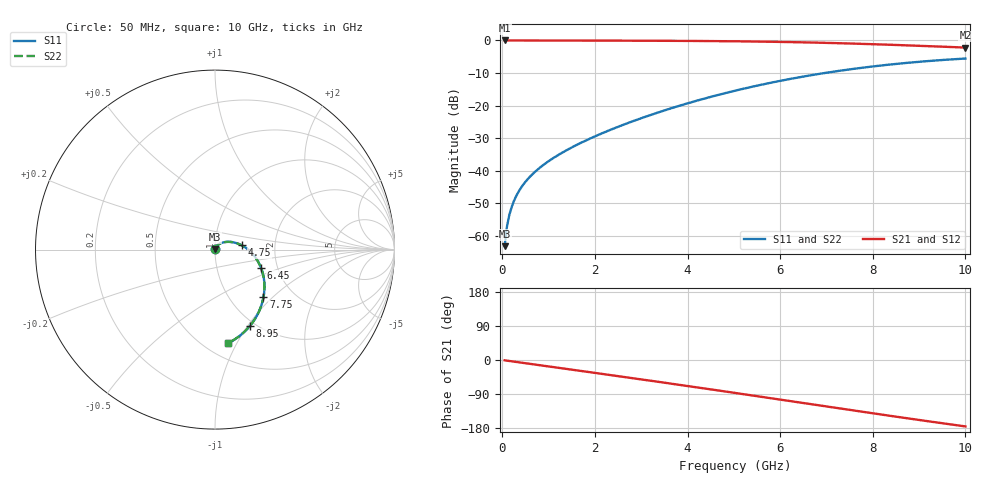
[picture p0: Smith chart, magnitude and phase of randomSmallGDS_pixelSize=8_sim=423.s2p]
! freq	dB(S11)	phase(S11)	dB(S12)	phase(S12)
!  dB(S21)	phase(S21)	dB(S22)	phase(S22)
!S-par simulation data
#  GHz  S  DB  R 50
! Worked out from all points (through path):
!   200 points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, 50 MHz to 10 GHz, reference 50 ohm
!   highest |S21| = 0.00 dB at 50 MHz (marker M1); lowest = -2.2 dB at 10 GHz (marker M2)
!   group delay of S21, straight-line fit = 49.1 ps
!   lowest |S11| = -63.2 dB at 50 MHz (marker M3), VSWR 1.00, Z = 50 + j0.0686 ohm
!   |S11| at or under -10 dB: start of sweep to 6.966 GHz
!   |S22| runs from -63.2 to -5.6 dB; largest |S21 - S12| = 0
!   S11 on the Smith chart (normalised r, x): 50 MHz: 1.00, +0.00; 4.75 GHz: 1.35, +0.07; 6.45 GHz: 1.64, -0.36; 7.75 GHz: 1.42, -0.88; 8.95 GHz: 0.95, -1.03; 10 GHz: 0.63, -0.92
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0.05  -63.24 85.6  -0.00 -0.9  -0.00 -0.9  -63.24 85.6
0.1  -57.25 85.9  -0.00 -1.7  -0.00 -1.7  -57.25 85.9
0.15  -53.76 85.2  -0.00 -2.6  -0.00 -2.6  -53.76 85.2
0.2  -51.30 84.4  -0.00 -3.4  -0.00 -3.4  -51.30 84.4
0.3  -47.84 82.8  -0.01 -5.1  -0.01 -5.1  -47.84 82.8
0.45  -44.37 80.5  -0.01 -7.7  -0.01 -7.7  -44.37 80.5
0.65  -41.14 77.6  -0.01 -11.1  -0.01 -11.1  -41.14 77.6
0.95  -37.61 73.3  -0.02 -16.2  -0.02 -16.2  -37.61 73.3
1.3  -34.45 68.0  -0.03 -22.1  -0.03 -22.1  -34.45 67.9
1.75  -31.12 60.8  -0.04 -29.7  -0.04 -29.7  -31.12 60.8
2.55  -26.27 47.4  -0.06 -43.4  -0.06 -43.4  -26.27 47.4
3.4  -21.97 32.8  -0.10 -58.1  -0.10 -58.1  -21.97 32.8
4.1  -18.92 20.6  -0.15 -70.4  -0.15 -70.4  -18.92 20.5
4.75  -16.42 9.1  -0.22 -81.9  -0.22 -81.9  -16.42 9.0
5.05  -15.37 3.7  -0.26 -87.3  -0.26 -87.3  -15.37 3.7
5.75  -13.14 -8.8  -0.39 -99.9  -0.39 -99.9  -13.14 -8.8
6.45  -11.22 -21.4  -0.56 -112.6  -0.56 -112.6  -11.22 -21.4
6.7  -10.61 -25.9  -0.64 -117.2  -0.64 -117.2  -10.61 -25.9
7.75  -8.43 -44.5  -1.03 -136.2  -1.03 -136.2  -8.43 -44.6
8.35  -7.44 -55.0  -1.31 -146.9  -1.31 -146.9  -7.44 -55.0
8.95  -6.62 -65.2  -1.62 -157.4  -1.62 -157.4  -6.62 -65.2
10  -5.56 -82.3  -2.19 -175.3  -2.19 -175.3  -5.56 -82.4
